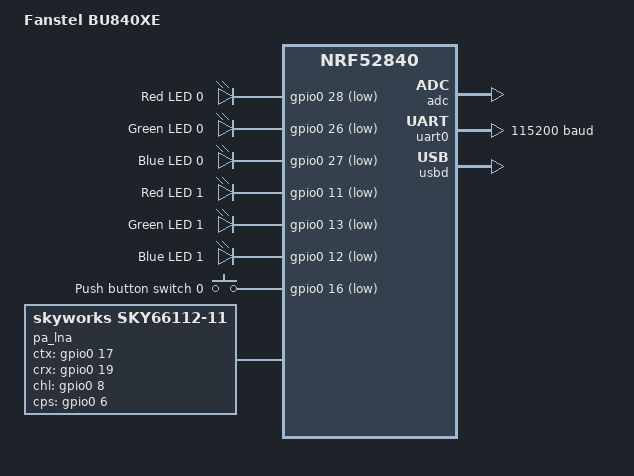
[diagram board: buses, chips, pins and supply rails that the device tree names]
/*
 * Copyright (c) 2024 RedNodeLabs.
 *
 * SPDX-License-Identifier: Apache-2.0
 */

/dts-v1/;
#include <nordic/nrf52840_qiaa.dtsi>
#include "fanstel_bu840xe-pinctrl.dtsi"

/ {
	model = "Fanstel BU840XE";
	compatible = "fanstel,bu840xe";

	chosen {
		zephyr,console        = &uart0;
		zephyr,shell-uart     = &uart0;
		zephyr,uart-mcumgr    = &uart0;
		zephyr,bt-mon-uart    = &uart0;
		zephyr,bt-c2h-uart    = &uart0;
		zephyr,sram           = &sram0;
		zephyr,flash          = &flash0;
		zephyr,code-partition = &slot0_partition;
	};

	leds {
		compatible = "gpio-leds";
		led0_red: led_0 {
			gpios = <&gpio0 28 GPIO_ACTIVE_LOW>;
			label = "Red LED 0";
		};
		led1_green: led_1 {
			gpios = <&gpio0 26 GPIO_ACTIVE_LOW>;
			label = "Green LED 0";
		};
		led2_blue: led_2 {
			gpios = <&gpio0 27 GPIO_ACTIVE_LOW>;
			label = "Blue LED 0";
		};
		led3_red: led_3 {
			gpios = <&gpio0 11 GPIO_ACTIVE_LOW>;
			label = "Red LED 1";
		};
		led4_green: led_4 {
			gpios = <&gpio0 13 GPIO_ACTIVE_LOW>;
			label = "Green LED 1";
		};
		led5_blue: led_5 {
			gpios = <&gpio0 12 GPIO_ACTIVE_LOW>;
			label = "Blue LED 1";
		};
	};

	buttons {
		compatible = "gpio-keys";
		button0: button_0 {
			gpios = <&gpio0 16 (GPIO_PULL_UP | GPIO_ACTIVE_LOW)>;
			label = "Push button switch 0";
		};
	};

	pa_lna: pa_lna_0 {
		compatible = "skyworks,sky66112-11";
		status = "okay";
		ctx-gpios = <&gpio0 17 GPIO_ACTIVE_HIGH>;
		crx-gpios = <&gpio0 19 GPIO_ACTIVE_HIGH>;
		chl-gpios = <&gpio0 8 GPIO_ACTIVE_HIGH>;
		cps-gpios = <&gpio0 6 GPIO_ACTIVE_HIGH>;
	};

	/* These aliases are provided for compatibility with samples */
	aliases {
		sw0             = &button0;
		led0            = &led0_red;
		led1            = &led1_green;
		led2            = &led2_blue;
		led3            = &led3_red;
		led0-red        = &led0_red;
		led1-green      = &led1_green;
		led2-red        = &led3_red;
		led3-blue       = &led2_blue;
		mcuboot-button0 = &button0;
		mcuboot-led0    = &led0_red;
		watchdog0       = &wdt0;
	};

};

&adc {
	status = "okay";
};

&gpiote {
	status = "okay";
};

&gpio0 {
	status = "okay";
};

&gpio1 {
	status = "okay";
};

&uart0 {
	compatible = "nordic,nrf-uarte";
	status = "okay";
	current-speed = <115200>;
	pinctrl-0 = <&uart0_default>;
	pinctrl-1 = <&uart0_sleep>;
	pinctrl-names = "default", "sleep";
};

&flash0 {

	partitions {
		compatible = "fixed-partitions";
		#address-cells = <1>;
		#size-cells = <1>;

		boot_partition: partition@0 {
			label = "mcuboot";
			reg = <0x00000000 0x0000C000>;
		};
		slot0_partition: partition@c000 {
			label = "image-0";
			reg = <0x0000C000 0x00076000>;
		};
		slot1_partition: partition@82000 {
			label = "image-1";
			reg = <0x00082000 0x00076000>;
		};
		storage_partition: partition@f8000 {
			label = "storage";
			reg = <0x000f8000 0x00008000>;
		};
	};
};

zephyr_udc0: &usbd {
	compatible = "nordic,nrf-usbd";
	status = "okay";
};
